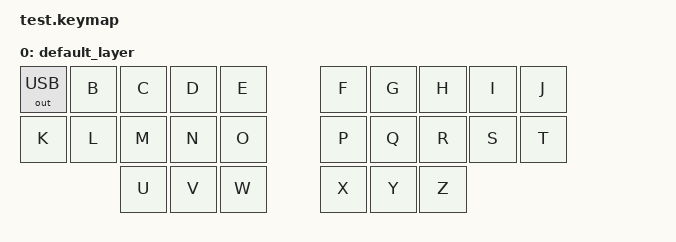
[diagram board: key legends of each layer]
// This file was generated from a template. Edit it to match your keyboard.
// See https://zmk.dev/docs/development/hardware-integration/new-shield for more instructions.
#include <dt-bindings/zmk/outputs.h>
#include <behaviors.dtsi>
#include <dt-bindings/zmk/keys.h>

/ {
    // Define a default keymap here.
    // See https://zmk.dev/docs/development/hardware-integration/new-shield#default-keymap.
    keymap {
        compatible = "zmk,keymap";
        default_layer {
            bindings = <
                &out OUT_USB    &kp B &kp C &kp D &kp E &kp F &kp G &kp H &kp I &kp J 
                &kp K           &kp L &kp M &kp N &kp O &kp P &kp Q &kp R &kp S &kp T
                                &kp U &kp V &kp W &kp X &kp Y &kp Z 
            >;
        };
    };
};
